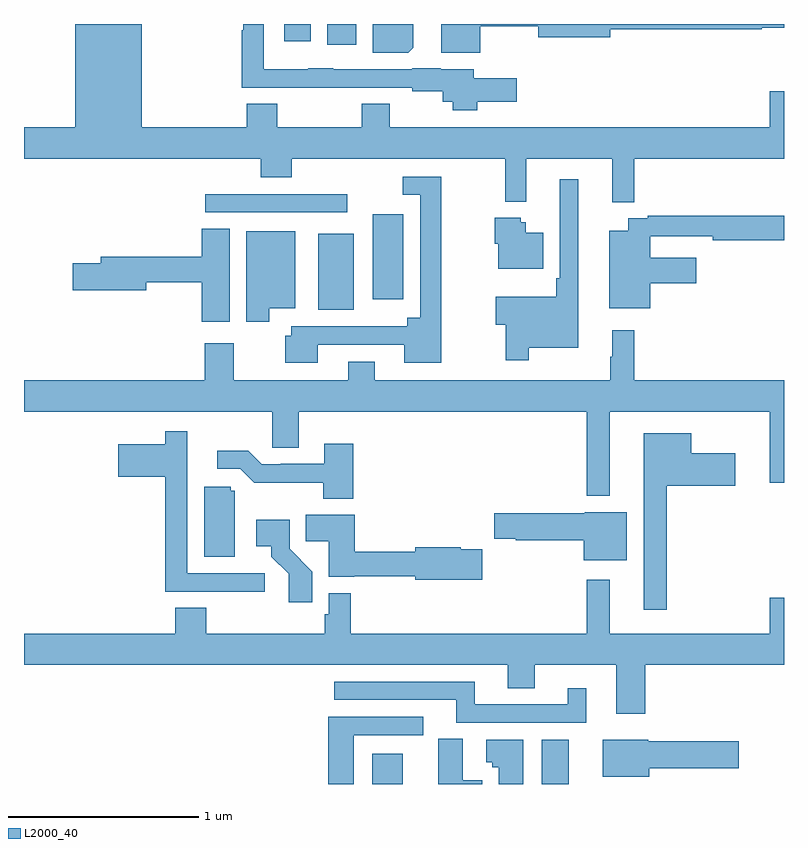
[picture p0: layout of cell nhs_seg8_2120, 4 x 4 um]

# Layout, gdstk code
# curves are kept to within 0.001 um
import gdstk
lib = gdstk.Library(unit=1e-6, precision=1e-09)
def R(c, l, rs):  # rectangles x0, y0, x1, y1
    for r in rs: c.add(gdstk.rectangle(r[:2], r[2:], *l))
def P(c, l, *ps):  # polygons
    for p in ps: c.add(gdstk.Polygon(p, *l))
L2000_40 = (2000, 40)

nhs_seg8_2120 = lib.new_cell('nhs_seg8_2120')
R(nhs_seg8_2120, L2000_40, [(246.833,1087.9,246.994,1088.059), (247.724,1087.9,247.867,1088.134), (246.548,1090.397,246.736,1090.795), (246.836,1090.452,246.997,1090.9), (245.955,1090.908,246.7,1091.004), (246.596,1091.79,246.748,1091.9), (246.371,1091.808,246.508,1091.9)])
P(nhs_seg8_2120, L2000_40, [(246.173,1091.48),(246.173,1091.356),(245.62,1091.356),(245.62,1091.9),(245.27,1091.9),(245.27,1091.356),(245,1091.356),(245,1091.192),(246.245,1091.192),(246.245,1091.093),(246.41,1091.093),(246.41,1091.192),(247.533,1091.192),(247.533,1090.964),(247.643,1090.964),(247.643,1091.192),(248.096,1091.192),(248.096,1090.963),(248.213,1090.963),(248.213,1091.192),(249,1091.192),(249,1091.545),(248.924,1091.545),(248.924,1091.356),(246.925,1091.356),(246.925,1091.48),(246.778,1091.48),(246.778,1091.356),(246.333,1091.356),(246.333,1091.48)],
  [(247.048,1091.776),(247.048,1091.9),(246.836,1091.9),(246.836,1091.75),(247.022,1091.75)],
  [(247.402,1091.887),(247.706,1091.887),(247.706,1091.83),(248.086,1091.83),(248.086,1091.872),(248.882,1091.872),(248.882,1091.88),(249,1091.88),(249,1091.9),(247.196,1091.9),(247.196,1091.75),(247.402,1091.75)],
  [(247.385,1091.492),(247.594,1091.492),(247.594,1091.614),(247.366,1091.614),(247.366,1091.662),(247.194,1091.662),(247.194,1091.668),(247.044,1091.668),(247.044,1091.661),(246.627,1091.661),(246.627,1091.668),(246.495,1091.668),(246.495,1091.662),(246.261,1091.662),(246.261,1091.9),(246.153,1091.9),(246.153,1091.868),(246.145,1091.868),(246.145,1091.565),(246.395,1091.565),(246.395,1091.564),(246.627,1091.564),(246.627,1091.565),(247.044,1091.565),(247.044,1091.546),(247.205,1091.546),(247.205,1091.492),(247.257,1091.492),(247.257,1091.447),(247.385,1091.447)],
  [(246.547,1090.212),(247.001,1090.212),(247.001,1090.118),(247.195,1090.118),(247.195,1091.097),(246.993,1091.097),(246.993,1091.001),(247.086,1091.001),(247.086,1090.354),(247.016,1090.354),(247.016,1090.308),(246.407,1090.308),(246.407,1090.258),(246.374,1090.258),(246.374,1090.118),(246.547,1090.118)],
  [(247.657,1090.196),(247.918,1090.196),(247.918,1091.083),(247.821,1091.083),(247.821,1090.561),(247.801,1090.561),(247.801,1090.465),(247.484,1090.465),(247.484,1090.318),(247.536,1090.318),(247.536,1090.131),(247.657,1090.131)],
  [(248.296,1090.535),(248.539,1090.535),(248.539,1090.669),(248.296,1090.669),(248.296,1090.782),(248.626,1090.782),(248.626,1090.762),(249,1090.762),(249,1090.891),(248.284,1090.891),(248.284,1090.878),(248.18,1090.878),(248.18,1090.813),(248.081,1090.813),(248.081,1090.403),(248.296,1090.403)],
  [(247.732,1090.801),(247.642,1090.801),(247.642,1090.857),(247.614,1090.857),(247.614,1090.879),(247.477,1090.879),(247.477,1090.743),(247.496,1090.743),(247.496,1090.613),(247.732,1090.613)],
  [(246.082,1090.823),(245.936,1090.823),(245.936,1090.676),(245.405,1090.676),(245.405,1090.64),(245.256,1090.64),(245.256,1090.498),(245.644,1090.498),(245.644,1090.54),(245.936,1090.54),(245.936,1090.332),(246.082,1090.332)],
  [(246.292,1090.403),(246.427,1090.403),(246.427,1090.81),(246.17,1090.81),(246.17,1090.332),(246.292,1090.332)],
  [(248.083,1089.86),(248.924,1089.86),(248.924,1089.486),(249,1089.486),(249,1090.024),(248.213,1090.024),(248.213,1090.288),(248.096,1090.288),(248.096,1090.148),(248.085,1090.148),(248.085,1090.024),(246.847,1090.024),(246.847,1090.123),(246.707,1090.123),(246.707,1090.024),(246.103,1090.024),(246.103,1090.219),(245.951,1090.219),(245.951,1090.024),(245,1090.024),(245,1089.86),(246.306,1089.86),(246.306,1089.67),(246.445,1089.67),(246.445,1089.86),(247.962,1089.86),(247.962,1089.416),(248.083,1089.416)],
  [(246.268,1089.009),(245.859,1089.009),(245.859,1089.534),(245.86,1089.534),(245.86,1089.757),(245.743,1089.757),(245.743,1089.688),(245.496,1089.688),(245.496,1089.518),(245.743,1089.518),(245.743,1088.913),(246.043,1088.913),(246.043,1088.911),(246.268,1088.911)],
  [(248.383,1089.47),(248.743,1089.47),(248.743,1089.64),(248.512,1089.64),(248.512,1089.745),(248.261,1089.745),(248.261,1088.817),(248.383,1088.817)],
  [(246.734,1089.691),(246.581,1089.691),(246.581,1089.585),(246.352,1089.585),(246.352,1089.582),(246.252,1089.582),(246.179,1089.655),(246.018,1089.655),(246.018,1089.558),(246.138,1089.558),(246.211,1089.485),(246.574,1089.486),(246.574,1089.401),(246.734,1089.401)],
  [(246.109,1089.444),(246.087,1089.444),(246.087,1089.465),(245.948,1089.465),(245.948,1089.096),(246.109,1089.096)],
  [(248.173,1089.331),(247.95,1089.331),(247.95,1089.326),(247.476,1089.326),(247.476,1089.19),(247.588,1089.19),(247.588,1089.184),(247.946,1089.184),(247.946,1089.077),(248.173,1089.077)],
  [(247.411,1089.136),(247.298,1089.136),(247.298,1089.146),(247.058,1089.146),(247.058,1089.122),(246.742,1089.122),(246.742,1089.316),(246.484,1089.316),(246.484,1089.178),(246.605,1089.178),(246.605,1088.99),(246.738,1088.99),(246.738,1088.994),(247.058,1088.994),(247.058,1088.975),(247.411,1088.975)],
  [(246.518,1089.018),(246.399,1089.137),(246.399,1089.292),(246.222,1089.292),(246.222,1089.152),(246.302,1089.152),(246.302,1089.097),(246.393,1089.007),(246.393,1088.856),(246.518,1088.856)],
  [(245.795,1088.828),(245.795,1088.692),(245,1088.692),(245,1088.528),(247.547,1088.528),(247.547,1088.404),(247.687,1088.404),(247.687,1088.528),(248.117,1088.528),(248.117,1088.271),(248.27,1088.271),(248.27,1088.528),(249,1088.528),(249,1088.881),(248.924,1088.881),(248.924,1088.692),(248.083,1088.692),(248.083,1088.974),(247.962,1088.974),(247.962,1088.692),(246.719,1088.692),(246.719,1088.905),(246.603,1088.905),(246.603,1088.793),(246.583,1088.793),(246.583,1088.692),(245.96,1088.692),(245.96,1088.828)],
  [(247.96,1088.404),(247.862,1088.404),(247.862,1088.319),(247.372,1088.319),(247.372,1088.439),(246.633,1088.439),(246.633,1088.343),(247.274,1088.343),(247.274,1088.223),(247.96,1088.223)],
  [(246.736,1088.157),(247.102,1088.157),(247.102,1088.253),(246.602,1088.253),(246.602,1087.9),(246.736,1087.9)],
  [(247.411,1087.92),(247.309,1087.92),(247.309,1088.137),(247.181,1088.137),(247.181,1087.9),(247.411,1087.9)],
  [(247.627,1088.134),(247.433,1088.134),(247.433,1088.015),(247.464,1088.015),(247.464,1087.987),(247.499,1087.987),(247.499,1087.9),(247.627,1087.9)],
  [(248.29,1087.982),(248.761,1087.982),(248.761,1088.124),(248.286,1088.124),(248.286,1088.134),(248.045,1088.134),(248.045,1087.937),(248.29,1087.937)])

lib.write_gds('nhs_seg8_2120.gds')
